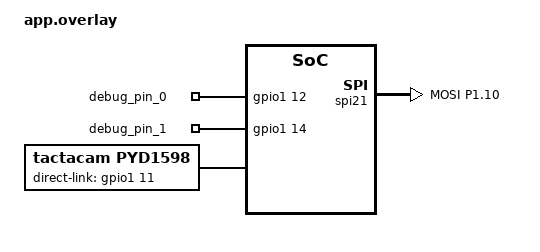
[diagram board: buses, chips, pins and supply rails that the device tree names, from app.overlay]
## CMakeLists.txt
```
cmake_minimum_required(VERSION 3.20.0)
find_package(Zephyr REQUIRED HINTS $ENV{ZEPHYR_BASE})

project(pyd1598)

list(APPEND EXTRA_DTC_FLAGS "-I${CMAKE_CURRENT_SOURCE_DIR}/dts/bindings")

target_sources( app PRIVATE 
    src/pyd1598/pyd1598.c
    src/main.c
    src/debug.c
)
```

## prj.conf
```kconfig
CONFIG_SENSOR=y
CONFIG_PM_DEVICE=y
CONFIG_SPI=y
CONFIG_GPIO=y
# CONFIG_SERIAL=n


# DEBUG
# CONFIG_LOG=y
# CONFIG_LOG_DEFAULT_LEVEL=4
# CONFIG_DEBUG_OPTIMIZATIONS=y
# CONFIG_SPI_LOG_LEVEL_DBG=y
```

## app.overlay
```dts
#include <zephyr/dt-bindings/gpio/nordic-nrf-gpio.h>

/ {
    debug_pins {
        compatible = "gpio-leds";

        debug_pin_0: debug_pin_0 {
            gpios = <&gpio1 12 GPIO_ACTIVE_HIGH>;
        };

        debug_pin_1: debug_pin_1 {
            gpios = <&gpio1 14 GPIO_ACTIVE_HIGH>;
        };
    };

    pyd1598: pir-sensor {
        compatible = "tactacam,pyd1598";
        status = "okay";
        spi-peripheral = <&spi21>;
        direct-link-gpios = <&gpio1 11 (GPIO_ACTIVE_HIGH | NRF_GPIO_DRIVE_H0H1)>;
    };
    
};



&pinctrl {
    spim21_default: spim21_default {
        group1 {
            psels = <NRF_PSEL(SPIM_MOSI, 1, 10)>;
        };
    };

    spim21_sleep: spim21_sleep {
        group1 {
            psels = <NRF_PSEL(SPIM_MOSI, 1, 10)>;
            low-power-enable;
        };
    };
};

&spi21 {
    compatible = "nordic,nrf-spim";
    status = "okay";

    pinctrl-0 = <&spim21_default>;
    pinctrl-1 = <&spim21_sleep>;

    pinctrl-names = "default", "sleep";
};
```

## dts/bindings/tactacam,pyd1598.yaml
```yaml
description: Tactacam PYD1598 PIR Sensor
compatible: "tactacam,pyd1598"
include: base.yaml

properties:
  direct-link-gpios:
    type: phandle-array
    required: true
    description: GPIO pin connected to the DIRECTLINK

  spi-peripheral:
    type: phandle
    required: true
    description: The SPI peripheral used for SERIN
```

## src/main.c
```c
#include <zephyr/kernel.h>
#include <zephyr/drivers/gpio.h>
#include <zephyr/device.h>
#include "pyd1598/pyd1598.h"

static const struct device* const dev = DEVICE_DT_GET(DT_NODELABEL(pyd1598));

#define BUTN0_NODE DT_ALIAS(sw3)
static const struct gpio_dt_spec button = GPIO_DT_SPEC_GET(BUTN0_NODE, gpios);

extern void init_debug(void);

void wakeup_cb(const struct device* dev, void* user_data){
    config_set_target_operation_modes(dev, OPERATION_MODES_FORCED_READOUT);
    update_current_config(dev);
    print_config_readable(dev);

    numbered_read(20); // accumulate data

    config_set_target_operation_modes(dev, OPERATION_MODES_WAKEUP); // return to sleep
    update_current_config(dev);
    print_config_readable(dev);
}

void interrupt_readout_cb(const struct device* dev, void* user_data){
    print_pyd1598_reading(dev); // ensure INTERRUPT_READOUT_ADC_UPDATES is ENABLED
}

int setup(void){
    int ret = 0;
    if (dev == NULL || !device_is_ready(dev))
        return 1;
    init_debug();
    gpio_pin_configure_dt(&button, GPIO_INPUT);
    set_wakeup_cb(dev, wakeup_cb, NULL);
    set_interrupt_readout_cb(dev, interrupt_readout_cb, NULL);
    
    return ret;
}

void flash_camera_config(void){
    config_set_target_threshold(dev, 100);
    config_set_target_blind_time(dev, 0);
    config_set_target_pulse_counter(dev, 1);
    config_set_target_window_time(dev, 1);
    config_set_target_operation_modes(dev, OPERATION_MODES_WAKEUP);
    config_set_target_signal_source(dev, SIGNAL_SOURCE_BPF);
    config_set_target_hpf_cutoff(dev, HPF_CUTOFF_0_4HZ);
    config_set_target_count_mode(dev, COUNT_MODE_WITHOUT_BPF_SIGN_CHANGE);
}

void read_pyd(void){
    if (update_reading(dev) == 0){
        print_pyd1598_reading(dev);
    }
}

void continuous_read(void){
    while (true){
        read_pyd();
        k_msleep(15);
    }
}

void numbered_read(int range){
    for (uint64_t t = 0; t < range; t++){
        read_pyd();
        k_msleep(15);
    }
}

int main(void){
    k_msleep(2000); // Wait for serial terminal to instantiate
    int setup_ret = setup();
    printk("setup returned: %s (%d)\n", setup_ret ? "failure" : "success", setup_ret);
    if (setup_ret)
        return 1;

    flash_camera_config();
    config_set_target_operation_modes(dev, OPERATION_MODES_INTERRUPT_READOUT);
    update_current_config(dev);
    print_config_readable(dev);

    while (true){
        k_sleep(K_FOREVER);
    }
    return 0;
}
```

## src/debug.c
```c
#include <zephyr/kernel.h>
#include <zephyr/drivers/gpio.h>

static const struct gpio_dt_spec debug0 = GPIO_DT_SPEC_GET(DT_NODELABEL(debug_pin_0), gpios);
static const struct gpio_dt_spec debug1 = GPIO_DT_SPEC_GET(DT_NODELABEL(debug_pin_1), gpios);

void init_debug(void){
    if (gpio_is_ready_dt(&debug0))
        gpio_pin_configure_dt(&debug0, GPIO_OUTPUT_LOW);
    
    if (gpio_is_ready_dt(&debug1))
        gpio_pin_configure_dt(&debug1, GPIO_OUTPUT_LOW);
}


void debug_event(void)
{
    gpio_pin_interrupt_configure_dt(&debug1, GPIO_INT_EDGE_TO_ACTIVE);
    gpio_pin_interrupt_configure_dt(&debug1, GPIO_INT_DISABLE);
    gpio_pin_set_dt(&debug1, 1);
    // gpio_pin_set_dt(&debug0, 1);

    gpio_pin_set_dt(&debug1, 0);
    // gpio_pin_set_dt(&debug0, 0);
    
}
```

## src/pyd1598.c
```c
#include <zephyr/kernel.h>
#include <zephyr/drivers/gpio.h>
#include <zephyr/drivers/sensor.h>
#include "pyd1598.h"
#include <errno.h>

#define SUCCESS 0
#define FAILURE 1

#define LL_HIGH 1
#define LL_LOW 0

// parameters defined in pyd1598 datasheet
// SERIN
#define DATA_CLK_LOW_TIME_US 1
#define DATA_CLK_HIGH_TIME_US 1
#define DATA_IN_HOLD_TIME_US 80
#define DATA_LOAD_TIME_US 650

// DIRECT-LINK
#define NUM_SERIAL_BITS 25
#define NUM_DATA_BITS 40
#define DATA_SETUP_TIME_US 120
#define BIT_TIME_US 18 // will depend on capacitive load of direct link
#define UPDATE_TIME_US 1250
#define CONFIG_UPDATE_TIME_US 2400

// sets reserved bits
#define EMPTY_CONFIG 0x10

#define OUT_OF_RANGE_RAW_MASK     0x1U
#define OUT_OF_RANGE_BIT_SHIFT    39
#define OUT_OF_RANGE_BIT_MASK     (OUT_OF_RANGE_RAW_MASK << OUT_OF_RANGE_BIT_SHIFT)

#define ADC_COUNT_RAW_MASK        0x3FFFU
#define ADC_COUNT_BIT_SHIFT       25
#define ADC_COUNT_BIT_MASK        (ADC_COUNT_RAW_MASK << ADC_COUNT_BIT_SHIFT)

#define CONFIG_RAW_MASK           0x1FFFFFFU
#define CONFIG_BIT_SHIFT          0
#define CONFIG_BIT_MASK           (CONFIG_RAW_MASK << CONFIG_BIT_SHIFT)

#define THRESHOLD_RAW_MASK        0xFFU
#define THRESHOLD_BIT_SHIFT       17
#define THRESHOLD_BIT_MASK        (THRESHOLD_RAW_MASK << THRESHOLD_BIT_SHIFT)

#define BLIND_TIME_RAW_MASK       0xFU
#define BLIND_TIME_BIT_SHIFT      13
#define BLIND_TIME_BIT_MASK       (BLIND_TIME_RAW_MASK << BLIND_TIME_BIT_SHIFT)

#define PULSE_COUNTER_RAW_MASK    0x3U
#define PULSE_COUNTER_BIT_SHIFT   11
#define PULSE_COUNTER_BIT_MASK    (PULSE_COUNTER_RAW_MASK << PULSE_COUNTER_BIT_SHIFT)

#define WINDOW_TIME_RAW_MASK      0x3U
#define WINDOW_TIME_BIT_SHIFT     9
#define WINDOW_TIME_BIT_MASK      (WINDOW_TIME_RAW_MASK << WINDOW_TIME_BIT_SHIFT)

#define OPERATION_MODES_RAW_MASK  0x3U
#define OPERATION_MODES_BIT_SHIFT 7
#define OPERATION_MODES_BIT_MASK  (OPERATION_MODES_RAW_MASK << OPERATION_MODES_BIT_SHIFT)

#define SIGNAL_SOURCE_RAW_MASK    0x3U
#define SIGNAL_SOURCE_BIT_SHIFT   5
#define SIGNAL_SOURCE_BIT_MASK    (SIGNAL_SOURCE_RAW_MASK << SIGNAL_SOURCE_BIT_SHIFT)

#define HPF_CUTOFF_RAW_MASK       0x1U
#define HPF_CUTOFF_BIT_SHIFT      2
#define HPF_CUTOFF_BIT_MASK       (HPF_CUTOFF_RAW_MASK << HPF_CUTOFF_BIT_SHIFT)

#define COUNT_MODE_RAW_MASK       0x1U
#define COUNT_MODE_BIT_SHIFT      0
#define COUNT_MODE_BIT_MASK       (COUNT_MODE_RAW_MASK << COUNT_MODE_BIT_SHIFT)

#define PRINTER(val, prompt)\
    printk(prompt);\
    for (int index = 24; index >= 0; index--){\
        printk("%d", (val >> index) & 1);\
    };\
    printk("\n");



// ROM
/*
pins to be configured in device tree
*/
typedef struct pyd1598_itf {
    int instance_id;
    struct gpio_dt_spec serin_gpio;
    struct gpio_dt_spec direct_link_gpio;
} pyd1598_itf_t;


// RAM
/*
configuration and last read datastream
*/
typedef struct pyd1598_buf {
    bool initilaized;

    const struct device* dev;
    struct k_work interrupt_readout_work;
    struct gpio_callback dl_isr_handle;
    pyd1598_isr_safe_cb_t wakeup_mode_cb;
    void* user_data;
    
/*
25-bit config (serial)
    [24:17] Threshold
    [16:13] Blind Time
    [12:11] Pulse Counter
    [10:9]  Window Time
    [8:7]   Operation Modes
    [6:5]   Signal Source
    [4:3]   Reserved
    [2]     HPF Cut-Off
    [1]     Reserved
    [0]     Count Mode
*/
    uint32_t pyd1598_config;
/*
40-bit data stream (direct link)
    [39]    Out of Range
    [38:25] ADC Counts
    [24:0]  Current Config
*/
    uint64_t pyd1589_data_stream;
    
    
} pyd1598_buf_t;

static void dl_isr_handler(const struct device *port, struct gpio_callback *cb, gpio_port_pins_t pins);

int config_set_threshold(const struct device* dev, uint8_t reg){
    pyd1598_buf_t* pyd1598_buf = dev->data;
    PRINTER(pyd1598_buf->pyd1598_config, "before: ")
    pyd1598_buf->pyd1598_config &= ~THRESHOLD_BIT_MASK;
    pyd1598_buf->pyd1598_config = pyd1598_buf->pyd1598_config | (uint32_t)reg << THRESHOLD_BIT_SHIFT;
    PRINTER(pyd1598_buf->pyd1598_config, "after : ")
    return SUCCESS;
}

int config_set_blind_time(const struct device* dev, uint8_t reg){
    if (reg > 15){
        printk("Blind Time register must be a value [0, 15]\n");
        return -EINVAL;
    }
    pyd1598_buf_t* pyd1598_buf = dev->data;
    PRINTER(pyd1598_buf->pyd1598_config, "before: ")
    pyd1598_buf->pyd1598_config &= ~BLIND_TIME_BIT_MASK;
    pyd1598_buf->pyd1598_config = pyd1598_buf->pyd1598_config | (uint32_t)reg << BLIND_TIME_BIT_SHIFT;
    PRINTER(pyd1598_buf->pyd1598_config, "after : ")
    return SUCCESS;
}

int config_set_pulse_counter(const struct device* dev, uint8_t reg){
    if (reg > 3){
        printk("Pulse Counter register must be a value [0, 3]\n");
        return -EINVAL;
    }
    pyd1598_buf_t* pyd1598_buf = dev->data;
    PRINTER(pyd1598_buf->pyd1598_config, "before: ")
    pyd1598_buf->pyd1598_config &= ~PULSE_COUNTER_BIT_MASK;
    pyd1598_buf->pyd1598_config |= (uint32_t)reg << PULSE_COUNTER_BIT_SHIFT;
    PRINTER(pyd1598_buf->pyd1598_config, "after : ")
    return SUCCESS;
}

int config_set_window_time(const struct device* dev, uint8_t reg){
    if (reg > 3){
        printk("Window Time register must be a value [0, 3]\n");
        return -EINVAL;
    }
    pyd1598_buf_t* pyd1598_buf = dev->data;
    PRINTER(pyd1598_buf->pyd1598_config, "before: ")
    pyd1598_buf->pyd1598_config &= ~WINDOW_TIME_BIT_MASK;
    pyd1598_buf->pyd1598_config |= (uint32_t)reg << WINDOW_TIME_BIT_SHIFT;
    PRINTER(pyd1598_buf->pyd1598_config, "after : ")
    return SUCCESS;
}

int config_set_operation_mode(const struct device* dev, operation_mode mode){
    pyd1598_buf_t* pyd1598_buf = dev->data;
    PRINTER(pyd1598_buf->pyd1598_config, "before: ")
    pyd1598_buf->pyd1598_config &= ~OPERATION_MODES_BIT_MASK;
    pyd1598_buf->pyd1598_config |= mode << OPERATION_MODES_BIT_SHIFT;
    PRINTER(pyd1598_buf->pyd1598_config, "after : ")
    return SUCCESS;
}

int config_set_signal_source(const struct device* dev, signal_source src){
    pyd1598_buf_t* pyd1598_buf = dev->data;
    PRINTER(pyd1598_buf->pyd1598_config, "before: ")
    pyd1598_buf->pyd1598_config &= ~SIGNAL_SOURCE_BIT_MASK;
    pyd1598_buf->pyd1598_config |= src << SIGNAL_SOURCE_BIT_SHIFT;
    PRINTER(pyd1598_buf->pyd1598_config, "after : ")
    return SUCCESS;    
}

int config_set_hpf_cutoff(const struct device* dev, hpf_cutoff cutoff){
    pyd1598_buf_t* pyd1598_buf = dev->data;
    PRINTER(pyd1598_buf->pyd1598_config, "before: ")
    pyd1598_buf->pyd1598_config &= ~HPF_CUTOFF_BIT_MASK;
    pyd1598_buf->pyd1598_config |= cutoff << HPF_CUTOFF_BIT_SHIFT;
    PRINTER(pyd1598_buf->pyd1598_config, "after : ")
    return SUCCESS;    
}

int config_set_count_mode(const struct device* dev, count_mode mode){
    pyd1598_buf_t* pyd1598_buf = dev->data;
    PRINTER(pyd1598_buf->pyd1598_config, "before: ")
    pyd1598_buf->pyd1598_config &= ~COUNT_MODE_BIT_MASK;
    pyd1598_buf->pyd1598_config |= mode;
    PRINTER(pyd1598_buf->pyd1598_config, "after : ")
    return SUCCESS;    
}

// Readout procedure to be followed by forced / interrupt pulse
static int _readout_of_bits(const struct device* dev, uint64_t* reading){
    const pyd1598_itf_t* pyd1598_itf = dev->config;
    uint64_t read_buf = 0;
    unsigned int lock = irq_lock(); // disable interrupts for timing sensitive section
    for (int index = NUM_DATA_BITS - 1; index >= 0; index--){
        gpio_pin_configure_dt(&pyd1598_itf->direct_link_gpio, GPIO_OUTPUT_LOW);
        k_busy_wait(DATA_CLK_LOW_TIME_US);
        gpio_pin_set_dt(&pyd1598_itf->direct_link_gpio, LL_HIGH);
        k_busy_wait(DATA_CLK_HIGH_TIME_US);
        gpio_pin_configure_dt(&pyd1598_itf->direct_link_gpio, GPIO_INPUT); // release direct-link (high-impedance)
    
        // acquire and store bit (MSb sent frist)
        k_busy_wait(BIT_TIME_US);
        read_buf = read_buf | ((uint64_t)gpio_pin_get_dt(&pyd1598_itf->direct_link_gpio) << index);
    }
    gpio_pin_configure_dt(&pyd1598_itf->direct_link_gpio, GPIO_OUTPUT_LOW);
    irq_unlock(lock);
    k_busy_wait(UPDATE_TIME_US);
    gpio_pin_configure_dt(&pyd1598_itf->direct_link_gpio, GPIO_INPUT); // release direct-link (high-impedance)
    *reading = read_buf;
    return SUCCESS;
}

// Only allowed in Forced Readout Mode -- Does not write to PIR's buffer
static int configcmp(const struct device* dev){
    uint64_t validation_buf;
    const pyd1598_itf_t* pyd1598_itf = dev->config;
    const pyd1598_buf_t* pyd1598_buf = dev->data;
    // initiate read via low->high transition
    gpio_pin_configure_dt(&pyd1598_itf->direct_link_gpio, GPIO_OUTPUT_HIGH);
    k_busy_wait(DATA_SETUP_TIME_US);
    _readout_of_bits(dev, &validation_buf);
    
    printk("Expected: %" PRIu32 "\nReceived: %" PRIu32 "\n\n", pyd1598_buf->pyd1598_config, (uint32_t)(validation_buf & CONFIG_BIT_MASK));
    
    return (uint32_t)(validation_buf & CONFIG_BIT_MASK) == pyd1598_buf->pyd1598_config;
}

// Sets PIR's internal configuration using the serial interface
static int _write_pyd1598_config(const struct device* dev){
    const pyd1598_itf_t* pyd1598_itf = dev->config;
    pyd1598_buf_t* pyd1598_buf = dev->data;

    uint8_t data[NUM_SERIAL_BITS] = {0};
    for (int index = 0; index < NUM_SERIAL_BITS; index++){ data[index] = (pyd1598_buf->pyd1598_config >> index) & 1; }
    
    // direct-link line must be held LOW by the hold system during configuration
    gpio_pin_configure_dt(&pyd1598_itf->direct_link_gpio, GPIO_OUTPUT_LOW);
    unsigned int lock = irq_lock(); // disable interrupts for timing sensitive section
    gpio_pin_set_dt(&pyd1598_itf->serin_gpio, LL_LOW);
    for (int index = NUM_SERIAL_BITS - 1; index >= 0; index--){
        k_busy_wait(DATA_CLK_LOW_TIME_US);
        gpio_pin_set_dt(&pyd1598_itf->serin_gpio, LL_HIGH); // clock rising edge -- mcu instruction cycle should handle 200ns hold required by datasheet
        k_busy_wait(DATA_CLK_HIGH_TIME_US);
        gpio_pin_set_dt(&pyd1598_itf->serin_gpio, data[index]);
        k_busy_wait(DATA_IN_HOLD_TIME_US); // hold data signal for minimum time stated in datasheet
        gpio_pin_set_dt(&pyd1598_itf->serin_gpio, LL_LOW);
    }
    irq_unlock(lock);
    // hold serial 'low' for minimum time stated in datasheet to signal configuration is complete
    k_busy_wait(DATA_LOAD_TIME_US);
    
    gpio_pin_configure_dt(&pyd1598_itf->direct_link_gpio, GPIO_INPUT); // release direct-link (high-impedance)
    k_busy_wait(CONFIG_UPDATE_TIME_US);
    return SUCCESS;
}

int update_pyd1598_config(const struct device* dev){
    const pyd1598_itf_t* pyd1598_itf = dev->config;
    pyd1598_buf_t* pyd1598_buf = dev->data;
    operation_mode mode = (pyd1598_buf->pyd1598_config >> OPERATION_MODES_BIT_SHIFT) & OPERATION_MODES_RAW_MASK;
    config_set_operation_mode(dev, OPERATION_MODE_FORCED_READOUT);
    int ret;
    for (int tries = 0; tries < 5; tries++){
        _write_pyd1598_config(dev);
        ret = configcmp(dev);
        if (ret)
            break;
    }
    config_set_operation_mode(dev, mode);

    if (!ret)
        return FAILURE;

    if (mode != OPERATION_MODE_FORCED_READOUT){
        for (int tries = 0; tries < 5; tries++){
            _write_pyd1598_config(dev);
        }
        gpio_pin_interrupt_configure_dt(&pyd1598_itf->direct_link_gpio, GPIO_INT_EDGE_TO_ACTIVE);
    }
    else {
        gpio_pin_interrupt_configure_dt(&pyd1598_itf->direct_link_gpio, GPIO_INT_DISABLE);
    }
    pyd1598_buf->initilaized = true;
    return SUCCESS;
}   

int forced_readout(const struct device* dev){
    const pyd1598_itf_t* pyd1598_itf = dev->config;
    pyd1598_buf_t* pyd1598_buf = dev->data;
    if (!pyd1598_buf->initilaized) { return FAILURE;}
    uint64_t buf;
    // initiate read via low->high transition
    gpio_pin_configure_dt(&pyd1598_itf->direct_link_gpio, GPIO_OUTPUT_HIGH);
    k_busy_wait(DATA_SETUP_TIME_US);
    int ret = _readout_of_bits(dev, &buf);
    if (!ret){ pyd1598_buf->pyd1589_data_stream = buf; }
    return ret;
}

void _interrupt_readout(struct k_work* work){
    printk("interrupt has been called!\n");
    pyd1598_buf_t* pyd1598_buf = CONTAINER_OF(work, pyd1598_buf_t, interrupt_readout_work);
    const pyd1598_itf_t* pyd1598_itf = pyd1598_buf->dev->config;
    uint64_t buf;
    gpio_pin_interrupt_configure_dt(&pyd1598_itf->direct_link_gpio, GPIO_INT_DISABLE);
    k_busy_wait(DATA_SETUP_TIME_US);
    if (!_readout_of_bits(pyd1598_buf->dev, &buf)){
        pyd1598_buf->pyd1589_data_stream = buf;
    }
    print_pyd1598_reading(pyd1598_buf->dev);
    gpio_pin_interrupt_configure_dt(&pyd1598_itf->direct_link_gpio, GPIO_INT_EDGE_TO_ACTIVE);
}


void print_pyd1598_reading(const struct device* dev){
    pyd1598_buf_t* buf = dev->data;
    uint16_t raw_adc_counts = (buf->pyd1589_data_stream >> ADC_COUNT_BIT_SHIFT) & ADC_COUNT_RAW_MASK;
    uint8_t signal_source = (buf->pyd1589_data_stream >> SIGNAL_SOURCE_BIT_SHIFT) & SIGNAL_SOURCE_RAW_MASK;
    int16_t adc_counts;
    if (signal_source == SIGNAL_SOURCE_BPF){
        adc_counts = raw_adc_counts;    
        // check if adc counts is signed
        if (raw_adc_counts & 0x2000)
            // prepend signed bits
            adc_counts = raw_adc_counts | 0xC000;
        printk("adc counts: %" PRId16 "\n", adc_counts);
    }
    else{
        printk("adc counts: %" PRIu16 "\n", raw_adc_counts);
    }
}

static void dl_isr_handler(const struct device* port, struct gpio_callback *cb, gpio_port_pins_t pins){
    // recover device inst pointer
    pyd1598_buf_t *pyd1598_buf = CONTAINER_OF(cb, pyd1598_buf_t, dl_isr_handle);
    
    const struct device *dev = pyd1598_buf->dev;
    // const pyd1598_itf_t *pyd_itf = dev->config;
    
    operation_mode mode = (pyd1598_buf->pyd1598_config >> OPERATION_MODES_BIT_SHIFT) & OPERATION_MODES_RAW_MASK;
    
    if (mode == OPERATION_MODE_INTERRUPT_READOUT) {
        k_work_submit(&pyd1598_buf->interrupt_readout_work);
    } 

    else if (mode == OPERATION_MODE_WAKEUP) {
        if (pyd1598_buf->wakeup_mode_cb) {
            // pyd1598_buf->wakeup_mode_cb(dev, pyd1598_buf->user_data);
        }
    }
}

// setup pins specified in device tree
static int _setup_pyd1598(const struct device* dev){
    const pyd1598_itf_t* pyd1598_itf = dev->config;
    pyd1598_buf_t* pyd1598_buf = dev->data;
    pyd1598_buf->dev = dev;
    pyd1598_buf->initilaized = false;
    // register data-link callback
    gpio_init_callback(
        &pyd1598_buf->dl_isr_handle,
        dl_isr_handler,
        BIT(pyd1598_itf->direct_link_gpio.pin));
    gpio_add_callback(pyd1598_itf->direct_link_gpio.port, &pyd1598_buf->dl_isr_handle);

    k_work_init(&pyd1598_buf->interrupt_readout_work, _interrupt_readout);
    pyd1598_buf->wakeup_mode_cb = NULL;
    pyd1598_buf->pyd1598_config = EMPTY_CONFIG; // set reserved bits

    if (!gpio_is_ready_dt(&pyd1598_itf->serin_gpio) || !gpio_is_ready_dt(&pyd1598_itf->direct_link_gpio)){
        printk("Serial and / or Direct Link GPIO not ready\n");
        return -ENODEV;
    }
    gpio_pin_configure_dt(&pyd1598_itf->serin_gpio, GPIO_OUTPUT);
    gpio_pin_configure_dt(&pyd1598_itf->direct_link_gpio, GPIO_INPUT);
    return 0;
}

#define PYD1598_NODE DT_COMPAT_GET_ANY_STATUS_OKAY(tactacam_pyd1598)

static pyd1598_buf_t pyd1598_buf_0;

static const pyd1598_itf_t pyd1598_itf_0 = {
    .instance_id = 0,
    .serin_gpio = GPIO_DT_SPEC_GET(PYD1598_NODE, serin_gpios),
    .direct_link_gpio = GPIO_DT_SPEC_GET(PYD1598_NODE, direct_link_gpios),
};

DEVICE_DT_DEFINE(PYD1598_NODE,
                 _setup_pyd1598,
                 NULL,
                 &pyd1598_buf_0,
                 &pyd1598_itf_0,
                 POST_KERNEL,
                 90,
                 NULL);
```

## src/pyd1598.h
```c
#include <zephyr/kernel.h>
#include <zephyr/drivers/gpio.h>
#include <zephyr/drivers/sensor.h>

typedef enum op_mode {
    OPERATION_MODE_FORCED_READOUT = 0,
    OPERATION_MODE_INTERRUPT_READOUT = 1,
    OPERATION_MODE_WAKEUP = 2,
    // RESERVED (3)
} operation_mode;

typedef enum sig_src {
    SIGNAL_SOURCE_BPF = 0,
    SIGNAL_SOURCE_LPF = 1,
    // RESERVED (2)
    SIGNAL_SOURCE_TEMPERATURE = 3
} signal_source;

typedef enum hpf_co {
    HPF_CUTOFF_0_4HZ = 0,
    HPF_CUTOFF_0_2HZ = 1
} hpf_cutoff;

typedef enum cm {
    COUNT_MODE_WITH_BPF_SIGN_CHANGE = 0,
    COUNT_MODE_WITHOUT_BPF_SIGN_CHANGE = 1
} count_mode;

typedef void (*pyd1598_isr_safe_cb_t)(const struct device *dev, void *user_data);

// Sets BPF motion sensitivity [Range: 0-255]
int config_set_threshold(const struct device* dev, uint8_t reg);

// set lockout time after motion event. Time = 0.5s + (reg * 0.5s) --> [Range: 0-15]
int config_set_blind_time(const struct device* dev, uint8_t reg);

// set motion pulse count threshold criteria. Pulses = 1 + reg --> [Range: 0-3]
int config_set_pulse_counter(const struct device* dev, uint8_t reg);

// set moving time window to evaluate pulses. Time = 2s + (reg * 2s) --> [Range: 0-3]
int config_set_window_time(const struct device* dev, uint8_t reg);

// set data readout mode
int config_set_operation_mode(const struct device* dev, operation_mode mode);

// select ADC source (PIR BPF, PIR LPF, or Temperature)
int config_set_signal_source(const struct device* dev, signal_source src);

// set high-pass filter cutoff frequency. [cite: 255]
int config_set_hpf_cutoff(const struct device* dev, hpf_cutoff cutoff);

// set pulse counting logic (with or without zero-crossing)
int config_set_count_mode(const struct device* dev, count_mode mode);

int update_pyd1598_config(const struct device* dev);

int forced_readout(const struct device* dev);

void print_pyd1598_reading(const struct device* dev);
```
